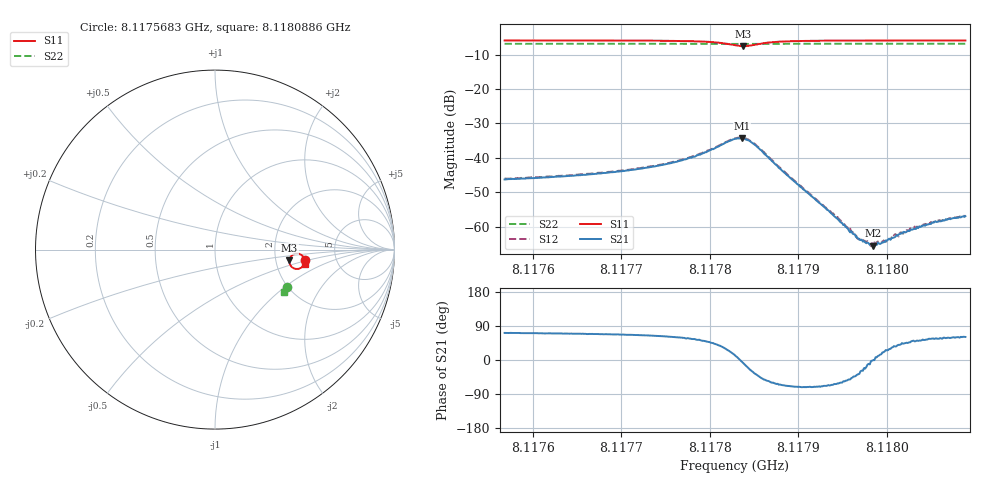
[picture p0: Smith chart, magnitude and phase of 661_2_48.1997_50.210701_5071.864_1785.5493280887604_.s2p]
#  HZ  S  RI  R  50.00
! Rohde & Schwarz Vector Network Analyzer
! Rohde-Schwarz,ZNB20-2Port,1311601062101988,3.16
! Created: UTC 3/20/2024, 12:05:44 PM
! freq[Hz]  re:S11  im:S11  re:S21  im:S21  re:S12  im:S12  re:S22  im:S22
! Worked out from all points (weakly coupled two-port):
!   401 points, 8.1175683 GHz to 8.1180886 GHz, reference 50 ohm
!   highest |S21| = -34.30 dB at 8.1178363 GHz (marker M1); lowest = -65.5 dB at 8.1179846 GHz (marker M2)
!   lowest |S11| = -7.6 dB at 8.1178376 GHz (marker M3), VSWR 2.44, Z = 119 - j17.4 ohm
!   |S11| at or under -10 dB: nowhere
!   |S22| runs from -6.9 to -6.9 dB; largest |S21 - S12| = 0.00066
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8.1175683e9  0.5031 -0.0606  0.00154 0.00458  0.00159 0.00473  0.4034 -0.2058
8.11765546e9  0.5008 -0.0707  0.00201 0.00526  0.00205 0.00536  0.4006 -0.2114
8.11770099e9  0.4986 -0.0774  0.00249 0.00587  0.00258 0.00601  0.3992 -0.2145
8.11774262e9  0.4946 -0.086  0.00347 0.00688  0.00355 0.00703  0.3977 -0.2172
8.11778164e9  0.4839 -0.0984  0.00588 0.00852  0.00613 0.00866  0.3958 -0.2198
8.11782848e9  0.4216 -0.0898  0.0184 0.00397  0.0187 0.00414  0.392 -0.2217
8.11783628e9  0.4136 -0.0649  0.0192 -0.00152  0.0195 -0.00153  0.3915 -0.2209
8.11783758e9  0.4139 -0.0602  0.0188 -0.00254  0.0193 -0.00244  0.3916 -0.2207
8.11784409e9  0.4226 -0.039  0.0166 -0.00667  0.0168 -0.00681  0.3922 -0.2203
8.11785189e9  0.4418 -0.0247  0.012 -0.00919  0.0123 -0.00942  0.3929 -0.2204
8.11787661e9  0.4837 -0.0315  0.00345 -0.0067  0.00335 -0.00685  0.3938 -0.2226
8.11791563e9  0.498 -0.0521  0.000859 -0.00256  0.000871 -0.00267  0.3928 -0.226
8.11794685e9  0.5003 -0.0615  0.000588 -0.00103  0.000642 -0.00107  0.392 -0.2283
8.11796767e9  0.5006 -0.066  0.000525 -0.000407  0.00057 -0.000335  0.3912 -0.2298
8.11798198e9  0.5006 -0.0685  0.00056 -2.96e-05  0.000514 -6.8e-05  0.3909 -0.2307
8.11798458e9  0.5008 -0.069  0.000528 -3.34e-06  0.000529 -5.88e-05  0.3907 -0.2311
8.11799498e9  0.5008 -0.0708  0.00055 0.000202  0.000562 0.000236  0.3903 -0.2315
8.11800279e9  0.5007 -0.0719  0.00058 0.000322  0.000585 0.000314  0.3901 -0.2319
8.11802881e9  0.5006 -0.0756  0.000575 0.000694  0.000624 0.00072  0.3891 -0.2337
8.11805222e9  0.5003 -0.0786  0.000622 0.000954  0.000672 0.000934  0.3883 -0.2353
8.11808474e9  0.5 -0.0821  0.000688 0.00121  0.000679 0.00127  0.3872 -0.2374
8.11808864e9  0.4999 -0.0826  0.000691 0.00124  0.000661 0.00119  0.3872 -0.2375
